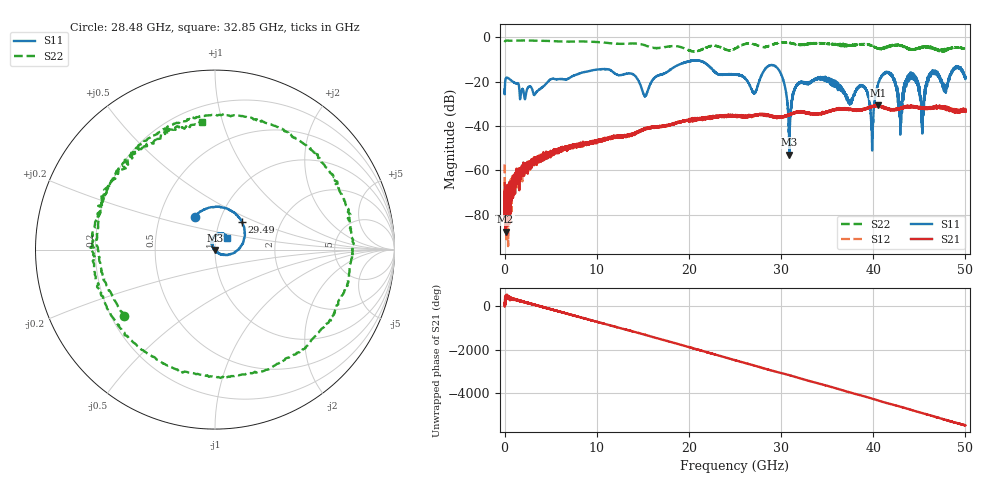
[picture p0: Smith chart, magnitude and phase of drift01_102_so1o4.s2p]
!Created with skrf (http://scikit-rf.org).
# Hz S RI R 50.0
!freq ReS11 ImS11 ReS21 ImS21 ReS12 ImS12 ReS22 ImS22
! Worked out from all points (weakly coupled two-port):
!   10001 points, 300 kHz to 50 GHz, reference 50 ohm
!   highest |S21| = -30.52 dB at 40.55 GHz (marker M1); lowest = -87.7 dB at 105.3 MHz (marker M2)
!   lowest |S11| = -52.8 dB at 30.89 GHz (marker M3), VSWR 1.00, Z = 50 - j0.228 ohm
!   |S11| at or under -10 dB: start of sweep to end of sweep
!   |S22| runs from -6.5 to -1.4 dB; largest |S21 - S12| = 0.0038
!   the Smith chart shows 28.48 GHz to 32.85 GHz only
!   S11 on the Smith chart (normalised r, x): 28.48 GHz: 0.75, +0.29; 29.49 GHz: 1.27, +0.42; 32.85 GHz: 1.13, +0.15
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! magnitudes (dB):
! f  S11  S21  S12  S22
! 300 kHz  -23.5  -65.7  -57.3  -2.1
! 105.3 MHz  -18.7  -87.7  -75.4  -1.5
! 8.335 GHz  -15.9  -48.3  -48.9  -1.8
! 15.24 GHz  -26.5  -41.2  -41.1  -3.5
! 16.67 GHz  -17.1  -40.4  -40.3  -4.8
! 25 GHz  -16.7  -35.3  -35.5  -5.1
! 27.1 GHz  -25.1  -35.4  -35.1  -3.1
! 28.48 GHz  -13.3  -35.2  -35.0  -4.1
! 29.49 GHz  -13.3  -35.9  -35.9  -2.7
! 30.89 GHz  -52.8  -34.7  -34.7  -2.5
! 31.61 GHz  -22.1  -33.8  -33.7  -3.0
! 32.85 GHz  -20.5  -34.2  -34.1  -2.9
! 33.34 GHz  -19.8  -34.2  -34.4  -2.7
! 38.91 GHz  -22.1  -32.3  -32.5  -3.0
! 39.87 GHz  -46.8  -31.3  -31.2  -3.8
! 40.55 GHz  -20.6  -30.5  -30.9  -5.1
! 41.67 GHz  -16.1  -32.2  -32.4  -4.1
! 42.93 GHz  -32.5  -31.8  -32.2  -3.6
! 43.97 GHz  -17.0  -31.0  -31.0  -5.4
! 45.31 GHz  -37.5  -32.3  -32.0  -4.4
! 46.42 GHz  -15.6  -31.7  -31.7  -4.7
! 50 GHz  -17.7  -33.5  -33.0  -5.4
